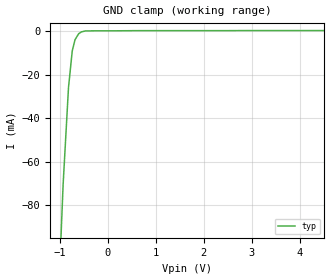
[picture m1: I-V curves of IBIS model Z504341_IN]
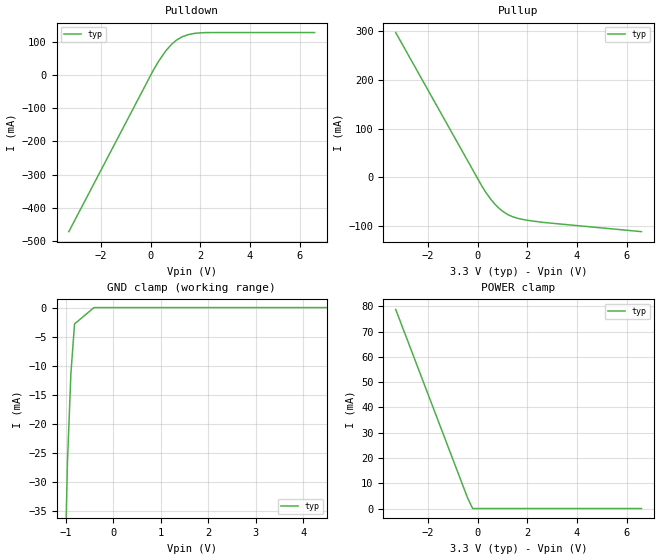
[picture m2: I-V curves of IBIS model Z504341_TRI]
| YOU ARE ONLY AUTHORIZED TO USE THIS SOFTWARE
| ACCORDING TO LICENSOR'S LICENSE RESTRICTIONS.
[IBIS Ver] 3.1
[File Name] mc74lcx240dw.ibs
[File Rev] 2.0
[Source] Measured and created by ICX Technology
[Date] Friday 7/14/00 9:08:12 AM
[Copyright]
| (C) COPYRIGHT 1993-2000
| MENTOR GRAPHICS CORPORATION
| ICX STANDARD LIBRARY, ICX PROJECT MODELING,
| ICX CUSTOM MODELING, ICX VENDOR MODEL
| ALL RIGHTS RESERVED.
| THE FOLLOWING ARE TRADEMARKS OR SERVICE MARKS OF
| MENTOR GRAPHICS CORPORATION:ICX (R), ICX STANDARD
| LIBRARY(R), ICX PROJECT MODELING(R), ICX CUSTOM
| MODELING(R), qualityIBIS(TM), MODELVIEWER(TM),
| AND MODELEDITOR(TM)
| ALL COPIES OF SOFTWARE, INCLUDING BUT NOT LIMITED TO
| ANY MODIFICATIONS, ENHANCEMENTS OR DERIVATIVE WORKS,
| MUST CONTAIN ALL MENTOR GRAPHICS CORPORATION'S
| NOTICES AND LEGENDS, INCLUDING THOSE EMBEDDED IN
| SOFTWARE AND THOSE AFFIXED TO SOFTWARE MEDIUM
| AND CONTAINER, AS RECEIVED FROM MENTOR GRAPHICS
| CORPORATION.
|  ZAP Model Builder 2.7
[Component] MC74LCX240DW
[Manufacturer] OnSemiconductor
[Package]
| variable   typ   min   max
R_pkg  .178ohms NA NA
L_pkg  4.43nH NA NA
C_pkg  .62pF NA NA
[Pin] signal_name  model_name  R_pin  L_pin C_pin
1 _G Z504341_IN .186 5.37n .68p
2 A0 Z504341_IN .182 4.89n .65p
3 _Y3 Z504341_TRI .178 4.42n .62p
4 A1 Z504341_IN .174 3.96n .59p
5 _Y2 Z504341_TRI .17 3.51n .56p
6 A2 Z504341_IN .17 3.51n .56p
7 _Y1 Z504341_TRI .174 3.96n .59p
8 A3 Z504341_IN .178 4.42n .62p
9 _Y0 Z504341_TRI .182 4.89n .65p
10 GROUND GND .186 5.37n .68p
11 A0 Z504341_IN .186 5.37n .68p
12 _Y3 Z504341_TRI .182 4.89n .65p
13 A1 Z504341_IN .178 4.42n .62p
14 _Y2 Z504341_TRI .174 3.96n .59p
15 A2 Z504341_IN .17 3.51n .56p
16 _Y1 Z504341_TRI .17 3.51n .56p
17 A3 Z504341_IN .174 3.96n .59p
18 _Y0 Z504341_TRI .178 4.42n .62p
19 _G Z504341_IN .182 4.89n .65p
20 VCC POWER .186 5.37n .68p
| Models and submodels in the file (2): Z504341_IN (Input), Z504341_TRI (3-state)
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| (C) COPYRIGHT 1993-2000
| MENTOR GRAPHICS CORPORATION
| ICX STANDARD LIBRARY, ICX PROJECT MODELING,
| ICX CUSTOM MODELING, ICX VENDOR MODEL
| ALL RIGHTS RESERVED.
| THE FOLLOWING ARE TRADEMARKS OR SERVICE MARKS OF
| MENTOR GRAPHICS CORPORATION:ICX (R), ICX STANDARD
| LIBRARY(R), ICX PROJECT MODELING(R), ICX CUSTOM
| MODELING(R), qualityIBIS(TM), MODELVIEWER(TM),
| AND MODELEDITOR(TM)
| ALL COPIES OF SOFTWARE, INCLUDING BUT NOT LIMITED TO
| ANY MODIFICATIONS, ENHANCEMENTS OR DERIVATIVE WORKS,
| MUST CONTAIN ALL MENTOR GRAPHICS CORPORATION'S
| NOTICES AND LEGENDS, INCLUDING THOSE EMBEDDED IN
| SOFTWARE AND THOSE AFFIXED TO SOFTWARE MEDIUM
| AND CONTAINER, AS RECEIVED FROM MENTOR GRAPHICS
| CORPORATION.
| Model Application Version 1.89 2/18/99.
[Model] Z504341_IN
Model_type Input
Vinl = 800.0mV
Vinh = 2.000V
C_comp 4.000pF NA NA
| variable typ   min   max
[Voltage Range] 3.300V NA NA
[GND Clamp Reference] 0.000V NA NA
[POWER Clamp Reference] 3.300V NA NA
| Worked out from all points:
|   GND clamp passes 1 mA (typ) near -0.59 V on its own axis
[GND Clamp]
-3.3V     -1.359A    NA         NA
-932.2mV  -70.53mA   NA         NA
-820.3mV  -25.97mA   NA         NA
-741.8mV  -9.118mA   NA         NA
-683.6mV  -3.965mA   NA         NA
-607.6mV  -1.221mA   NA         NA
-549.8mV  -392.4uA   NA         NA
-468.6mV  50.39uA    NA         NA
-234.3mV  109.9uA    NA         NA
6.6V      223.4uA    NA         NA
[POWER Clamp]
-3.3V     0A         NA         NA
6.6V      0A         NA         NA
| (C) COPYRIGHT 1993-2000
| MENTOR GRAPHICS CORPORATION
| ICX STANDARD LIBRARY, ICX PROJECT MODELING,
| ICX CUSTOM MODELING, ICX VENDOR MODEL
| ALL RIGHTS RESERVED.
| THE FOLLOWING ARE TRADEMARKS OR SERVICE MARKS OF
| MENTOR GRAPHICS CORPORATION:ICX (R), ICX STANDARD
| LIBRARY(R), ICX PROJECT MODELING(R), ICX CUSTOM
| MODELING(R), qualityIBIS(TM), MODELVIEWER(TM),
| AND MODELEDITOR(TM)
| ALL COPIES OF SOFTWARE, INCLUDING BUT NOT LIMITED TO
| ANY MODIFICATIONS, ENHANCEMENTS OR DERIVATIVE WORKS,
| MUST CONTAIN ALL MENTOR GRAPHICS CORPORATION'S
| NOTICES AND LEGENDS, INCLUDING THOSE EMBEDDED IN
| SOFTWARE AND THOSE AFFIXED TO SOFTWARE MEDIUM
| AND CONTAINER, AS RECEIVED FROM MENTOR GRAPHICS
| CORPORATION.
| Model Application Version 1.89 2/18/99.
[Model] Z504341_TRI
Model_type 3-state
Vref=0.000V
Rref=500.0ohms
Cref=50.00pF
Vmeas=1.500V
C_comp 8.000pF NA NA
| variable typ   min   max
[Voltage Range] 3.300V NA NA
[POWER Clamp Reference] 3.300V NA NA
[Pullup Reference] 3.300V NA NA
[Pulldown Reference] 0.000V NA NA
[GND Clamp Reference] 0.000V NA NA
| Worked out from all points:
|   slope of the pulldown table from 0 to 0.495 V, typ, clamps not added: 8.15 ohm
|   slope of the pullup table from 0 to 0.495 V, typ, clamps not added: 12.3 ohm
|   POWER clamp passes 1 mA (typ) near -0.25 V on its own axis
[GND Clamp]
-3.3V     -894.3mA   NA         NA
-970.4mV  -26.89mA   NA         NA
-897mV    -11.36mA   NA         NA
-820.2mV  -2.821mA   NA         NA
-410.1mV  0A         NA         NA
6.6V      0A         NA         NA
[Pulldown]
-3.3V     -471.4mA   NA         NA
92.85mV   12.82mA    NA         NA
324.2mV   42.02mA    NA         NA
625mV     74.25mA    NA         NA
844.4mV   92.45mA    NA         NA
1.031V    104.4mA    NA         NA
1.24V     113.9mA    NA         NA
1.475V    120.6mA    NA         NA
2.064V    126.9mA    NA         NA
6.6V      127.6mA    NA         NA
[Pullup]
-3.3V     297.7mA    NA         NA
175mV     -18.23mA   NA         NA
527mV     -44.8mA    NA         NA
678mV     -54.09mA   NA         NA
1V        -69.35mA   NA         NA
1.405V    -80.78mA   NA         NA
2.157V    -89.3mA    NA         NA
6.6V      -111.5mA   NA         NA
[POWER Clamp]
-3.3V     78.77mA    NA         NA
-401mV    4.113mA    NA         NA
-200.5mV  0A         NA         NA
6.6V      0A         NA         NA
[Ramp]
| variable typ min max
dV/dt_r 1.951/611.5p NA NA
dV/dt_f 1.951/1.651n NA NA
R_load = 500.0Ohms
